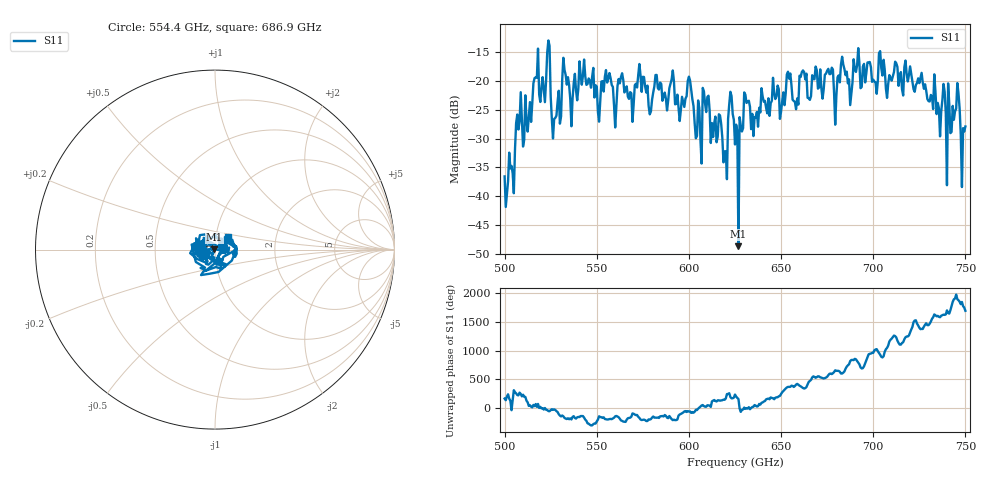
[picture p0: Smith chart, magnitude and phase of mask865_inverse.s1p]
!Created with skrf (http://scikit-rf.org).
# GHz S MA R 50.0
!freq magS11 angS11
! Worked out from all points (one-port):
!   401 points, 500 GHz to 750 GHz, reference 50 ohm
!   lowest |S11| = -48.6 dB at 626.9 GHz (marker M1), VSWR 1.01, Z = 49.7 + j0.144 ohm
!   |S11| at or under -10 dB: start of sweep to end of sweep
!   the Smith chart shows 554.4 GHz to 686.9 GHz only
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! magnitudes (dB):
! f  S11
! 500 GHz  -36.6
! 516.9 GHz  -19.4
! 520.6 GHz  -19.4
! 523.8 GHz  -13.0
! 526.9 GHz  -26.6
! 531.2 GHz  -19.8
! 560 GHz  -28.1
! 562.5 GHz  -20.4
! 579.4 GHz  -25.3
! 590.6 GHz  -19.7
! 593.8 GHz  -22.4
! 600.6 GHz  -20.0
! 605.6 GHz  -24.7
! 608.8 GHz  -23.9
! 619.4 GHz  -32.2
! 622.5 GHz  -21.9
! 625 GHz  -31.0
! 626.9 GHz  -48.6
! 631.2 GHz  -23.8
! 635 GHz  -29.6
! 656.2 GHz  -23.3
! 676.9 GHz  -18.8
! 680 GHz  -22.6
! 683.8 GHz  -17.2
! 687.5 GHz  -24.2
! 690.6 GHz  -18.5
! 718.8 GHz  -20.1
! 750 GHz  -27.9
